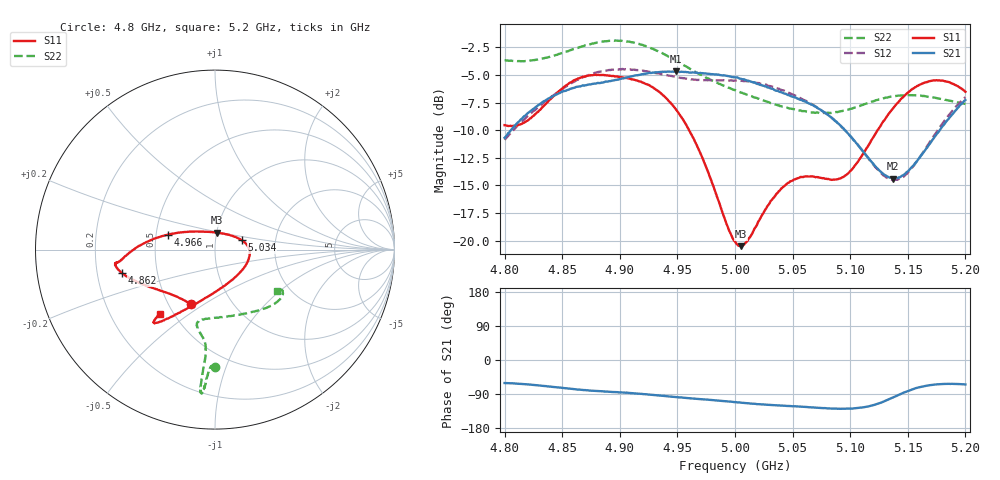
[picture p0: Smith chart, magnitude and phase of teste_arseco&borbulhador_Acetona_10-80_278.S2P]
! Network Analyzer HP8722D
! Hewlett-Packard
! Data name: Linha & Wilkinson
! Saver's name: Rodrigo Anjos
! Comments: Teste da utilização de aquisição
! continua pelo VNA HP8722D
! Time and date: 17/4/2025 16:40
!  Frequency  S11  S21  S12  S22
# HZ  S  MA R 50
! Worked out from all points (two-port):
!   401 points, 4.8 GHz to 5.2 GHz, reference 50 ohm
!   highest |S21| = -4.69 dB at 4.949 GHz (marker M1); lowest = -14.4 dB at 5.137 GHz (marker M2)
!   |S21| within 3 dB of the highest: 4.83 GHz to 5.066 GHz (236.6 MHz wide, 4.78 % of centre); 5.195922 GHz to end of sweep
!   lowest |S11| = -20.5 dB at 5.005 GHz (marker M3), VSWR 1.21, Z = 50.4 + j9.52 ohm
!   |S11| at or under -10 dB: 4.96 GHz to 5.124 GHz (163.7 MHz wide, 3.25 % of centre)
!   |S22| runs from -8.5 to -1.9 dB; largest |S21 - S12| = 0.87
!   S11 on the Smith chart (normalised r, x): 4.8 GHz: 0.64, -0.44; 4.862 GHz: 0.31, -0.11; 4.966 GHz: 0.58, +0.10; 5.034 GHz: 1.34, +0.15; 5.2 GHz: 0.42, -0.39
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4.8e9  0.3332 -113.8  0.2921 -60.8  0.2859 -175.0  0.6555 -90.1
4.819e9  0.3477 -133.7  0.3729 -64.2  0.3615 -173.8  0.6507 -91.7
4.862e9  0.536 -166.0  0.4958 -77.3  0.5299 -177.1  0.7411 -94.0
4.867e9  0.5488 -168.0  0.5022 -78.9  0.5439 -178.0  0.7566 -94.2
4.902e9  0.5476 -172.6  0.5416 -85.7  0.5984 174.9  0.8015 -95.6
4.934e9  0.4722 -178.4  0.5782 -93.7  0.5722 171.6  0.7158 -95.9
4.949e9  0.391 174.4  0.5826 -97.7  0.5506 172.1  0.6518 -95.5
4.966e9  0.2758 162.5  0.5758 -102.2  0.5348 173.6  0.5779 -95.2
5e9  0.09922 99.8  0.548 -111.1  0.5305 176.0  0.4801 -99.2
5.005e9  0.09448 82.0  0.5402 -112.6  0.5282 176.0  0.4674 -100.4
5.012e9  0.1026 59.0  0.5285 -114.3  0.5244 175.7  0.4536 -101.9
5.034e9  0.158 19.5  0.481 -119.3  0.4938 174.8  0.4152 -103.4
5.05e9  0.1871 3.3  0.4478 -122.1  0.4587 174.1  0.3945 -99.4
5.067e9  0.1954 -15.1  0.4118 -125.1  0.4131 173.6  0.3801 -90.4
5.086e9  0.1891 -45.3  0.3529 -128.4  0.3512 173.7  0.3809 -76.0
5.097e9  0.1991 -67.6  0.3097 -128.6  0.3103 174.7  0.39 -67.0
5.134e9  0.3784 -117.1  0.1933 -103.2  0.1899 -156.3  0.4469 -43.0
5.137e9  0.3959 -118.8  0.191 -99.2  0.1886 -151.5  0.4501 -41.7
5.151e9  0.4712 -124.9  0.2082 -80.7  0.2059 -130.1  0.4559 -36.5
5.17e9  0.5284 -129.2  0.2784 -66.2  0.284 -112.2  0.4463 -32.1
5.184e9  0.5244 -130.5  0.3496 -63.1  0.3612 -107.4  0.4323 -31.1
5.2e9  0.4719 -130.8  0.4329 -64.6  0.4461 -106.6  0.4154 -33.5
